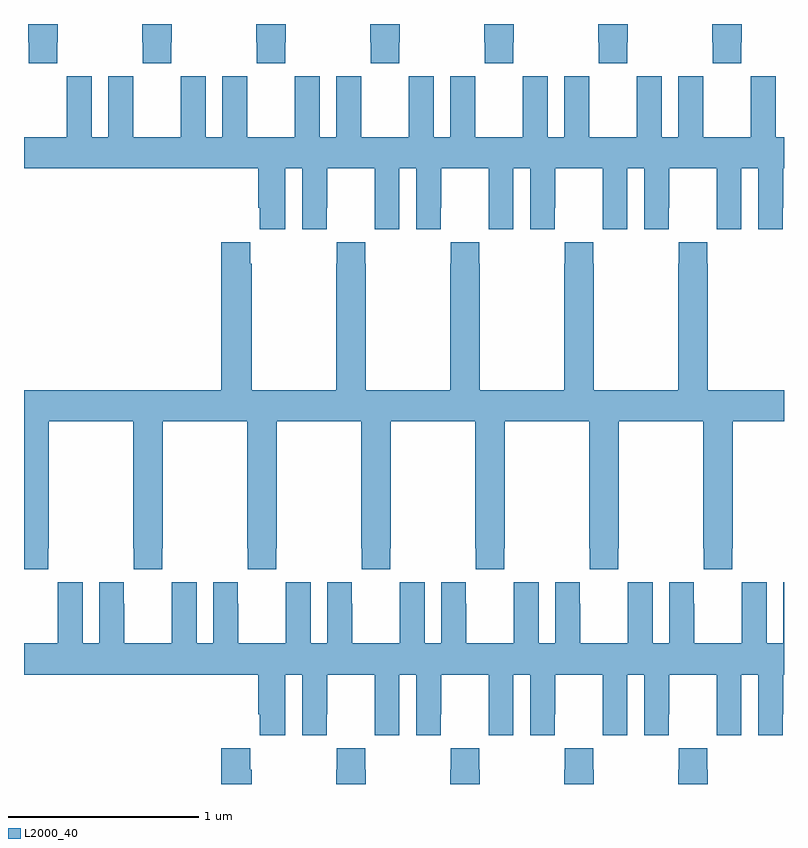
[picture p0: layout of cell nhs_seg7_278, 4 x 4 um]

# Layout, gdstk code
import gdstk
lib = gdstk.Library(unit=1e-6, precision=1e-09)
def P(c, l, *ps):  # polygons
    for p in ps: c.add(gdstk.Polygon(p, *l))
L2000_40 = (2000, 40)

nhs_seg7_278 = lib.new_cell('nhs_seg7_278')
P(nhs_seg7_278, L2000_40, [(133.575,1043.905),(133.578,1043.905),(133.578,1044),(133.423,1044),(133.423,1043.905),(133.425,1043.905),(133.425,1043.793),(133.575,1043.793)],
  [(132.975,1043.905),(132.978,1043.905),(132.978,1044),(132.823,1044),(132.823,1043.905),(132.825,1043.905),(132.825,1043.793),(132.975,1043.793)],
  [(132.375,1043.905),(132.378,1043.905),(132.378,1044),(132.223,1044),(132.223,1043.905),(132.225,1043.905),(132.225,1043.793),(132.375,1043.793)],
  [(131.775,1043.905),(131.778,1043.905),(131.778,1044),(131.623,1044),(131.623,1043.905),(131.625,1043.905),(131.625,1043.793),(131.775,1043.793)],
  [(131.175,1043.905),(131.178,1043.905),(131.178,1044),(131.023,1044),(131.023,1043.905),(131.025,1043.905),(131.025,1043.793),(131.175,1043.793)],
  [(134.175,1043.905),(134.178,1043.905),(134.178,1044),(134.023,1044),(134.023,1043.905),(134.025,1043.905),(134.025,1043.793),(134.175,1043.793)],
  [(134.775,1043.905),(134.778,1043.905),(134.778,1044),(134.623,1044),(134.623,1043.905),(134.625,1043.905),(134.625,1043.793),(134.775,1043.793)],
  [(133.975,1043.612),(133.974,1043.612),(133.974,1043.725),(133.844,1043.725),(133.844,1043.404),(133.756,1043.404),(133.756,1043.725),(133.626,1043.725),(133.626,1043.612),(133.625,1043.612),(133.625,1043.404),(133.375,1043.404),(133.375,1043.612),(133.374,1043.612),(133.374,1043.725),(133.244,1043.725),(133.244,1043.404),(133.156,1043.404),(133.156,1043.725),(133.026,1043.725),(133.026,1043.612),(133.025,1043.612),(133.025,1043.404),(132.775,1043.404),(132.775,1043.612),(132.774,1043.612),(132.774,1043.725),(132.644,1043.725),(132.644,1043.404),(132.556,1043.404),(132.556,1043.725),(132.426,1043.725),(132.426,1043.612),(132.425,1043.612),(132.425,1043.404),(132.175,1043.404),(132.175,1043.612),(132.174,1043.612),(132.174,1043.725),(132.044,1043.725),(132.044,1043.404),(131.956,1043.404),(131.956,1043.725),(131.826,1043.725),(131.826,1043.612),(131.825,1043.612),(131.825,1043.404),(131.575,1043.404),(131.575,1043.612),(131.574,1043.612),(131.574,1043.725),(131.444,1043.725),(131.444,1043.404),(131.356,1043.404),(131.356,1043.725),(131.226,1043.725),(131.226,1043.612),(131.225,1043.612),(131.225,1043.404),(131,1043.404),(131,1043.24),(132.233,1043.24),(132.233,1043.032),(132.242,1043.032),(132.242,1042.92),(132.376,1042.92),(132.376,1043.24),(132.464,1043.24),(132.464,1042.92),(132.594,1042.92),(132.594,1043.032),(132.595,1043.032),(132.595,1043.24),(132.845,1043.24),(132.845,1043.032),(132.846,1043.032),(132.846,1042.92),(132.976,1042.92),(132.976,1043.24),(133.064,1043.24),(133.064,1042.92),(133.194,1042.92),(133.194,1043.032),(133.195,1043.032),(133.195,1043.24),(133.445,1043.24),(133.445,1043.032),(133.446,1043.032),(133.446,1042.92),(133.576,1042.92),(133.576,1043.24),(133.664,1043.24),(133.664,1042.92),(133.794,1042.92),(133.794,1043.032),(133.795,1043.032),(133.795,1043.24),(134.045,1043.24),(134.045,1043.032),(134.046,1043.032),(134.046,1042.92),(134.176,1042.92),(134.176,1043.24),(134.264,1043.24),(134.264,1042.92),(134.394,1042.92),(134.394,1043.032),(134.395,1043.032),(134.395,1043.24),(134.645,1043.24),(134.645,1043.032),(134.646,1043.032),(134.646,1042.92),(134.776,1042.92),(134.776,1043.24),(134.864,1043.24),(134.864,1042.92),(134.994,1042.92),(134.994,1043.032),(134.995,1043.032),(134.995,1043.24),(135,1043.24),(135,1043.404),(134.956,1043.404),(134.956,1043.725),(134.826,1043.725),(134.826,1043.612),(134.825,1043.612),(134.825,1043.404),(134.575,1043.404),(134.575,1043.612),(134.574,1043.612),(134.574,1043.725),(134.444,1043.725),(134.444,1043.404),(134.356,1043.404),(134.356,1043.725),(134.226,1043.725),(134.226,1043.612),(134.225,1043.612),(134.225,1043.404),(133.975,1043.404)],
  [(133.975,1041.241),(133.977,1041.241),(133.977,1041.129),(134.127,1041.129),(134.127,1041.241),(134.13,1041.241),(134.13,1041.908),(134.575,1041.908),(134.575,1041.241),(134.577,1041.241),(134.577,1041.129),(134.727,1041.129),(134.727,1041.241),(134.73,1041.241),(134.73,1041.908),(135,1041.908),(135,1042.072),(134.598,1042.072),(134.598,1042.739),(134.595,1042.739),(134.595,1042.852),(134.445,1042.852),(134.445,1042.739),(134.443,1042.739),(134.443,1042.072),(133.998,1042.072),(133.998,1042.739),(133.995,1042.739),(133.995,1042.852),(133.845,1042.852),(133.845,1042.739),(133.843,1042.739),(133.843,1042.072),(133.398,1042.072),(133.398,1042.739),(133.395,1042.739),(133.395,1042.852),(133.245,1042.852),(133.245,1042.739),(133.243,1042.739),(133.243,1042.072),(132.798,1042.072),(132.798,1042.739),(132.795,1042.739),(132.795,1042.852),(132.645,1042.852),(132.645,1042.739),(132.643,1042.739),(132.643,1042.072),(132.198,1042.072),(132.198,1042.739),(132.191,1042.739),(132.191,1042.852),(132.038,1042.852),(132.038,1042.072),(131,1042.072),(131,1041.129),(131.127,1041.129),(131.127,1041.241),(131.13,1041.241),(131.13,1041.908),(131.575,1041.908),(131.575,1041.241),(131.577,1041.241),(131.577,1041.129),(131.727,1041.129),(131.727,1041.241),(131.73,1041.241),(131.73,1041.908),(132.175,1041.908),(132.175,1041.241),(132.177,1041.241),(132.177,1041.129),(132.327,1041.129),(132.327,1041.241),(132.33,1041.241),(132.33,1041.908),(132.775,1041.908),(132.775,1041.241),(132.777,1041.241),(132.777,1041.129),(132.927,1041.129),(132.927,1041.241),(132.93,1041.241),(132.93,1041.908),(133.375,1041.908),(133.375,1041.241),(133.377,1041.241),(133.377,1041.129),(133.527,1041.129),(133.527,1041.241),(133.53,1041.241),(133.53,1041.908),(133.975,1041.908)],
  [(133.445,1040.368),(133.446,1040.368),(133.446,1040.256),(133.576,1040.256),(133.576,1040.576),(133.664,1040.576),(133.664,1040.256),(133.794,1040.256),(133.794,1040.368),(133.795,1040.368),(133.795,1040.576),(134.045,1040.576),(134.045,1040.368),(134.046,1040.368),(134.046,1040.256),(134.176,1040.256),(134.176,1040.576),(134.264,1040.576),(134.264,1040.256),(134.394,1040.256),(134.394,1040.368),(134.395,1040.368),(134.395,1040.576),(134.645,1040.576),(134.645,1040.368),(134.646,1040.368),(134.646,1040.256),(134.776,1040.256),(134.776,1040.576),(134.864,1040.576),(134.864,1040.256),(134.994,1040.256),(134.994,1040.368),(134.995,1040.368),(134.995,1040.576),(135,1040.576),(135,1041.061),(134.996,1041.061),(134.996,1040.74),(134.908,1040.74),(134.908,1041.061),(134.778,1041.061),(134.778,1040.948),(134.777,1040.948),(134.777,1040.74),(134.527,1040.74),(134.527,1040.948),(134.526,1040.948),(134.526,1041.061),(134.396,1041.061),(134.396,1040.74),(134.308,1040.74),(134.308,1041.061),(134.178,1041.061),(134.178,1040.948),(134.177,1040.948),(134.177,1040.74),(133.927,1040.74),(133.927,1040.948),(133.926,1040.948),(133.926,1041.061),(133.796,1041.061),(133.796,1040.74),(133.708,1040.74),(133.708,1041.061),(133.578,1041.061),(133.578,1040.948),(133.577,1040.948),(133.577,1040.74),(133.327,1040.74),(133.327,1040.948),(133.326,1040.948),(133.326,1041.061),(133.196,1041.061),(133.196,1040.74),(133.108,1040.74),(133.108,1041.061),(132.978,1041.061),(132.978,1040.948),(132.977,1040.948),(132.977,1040.74),(132.727,1040.74),(132.727,1040.948),(132.726,1040.948),(132.726,1041.061),(132.596,1041.061),(132.596,1040.74),(132.508,1040.74),(132.508,1041.061),(132.378,1041.061),(132.378,1040.948),(132.377,1040.948),(132.377,1040.74),(132.127,1040.74),(132.127,1040.948),(132.126,1040.948),(132.126,1041.061),(131.996,1041.061),(131.996,1040.74),(131.908,1040.74),(131.908,1041.061),(131.778,1041.061),(131.778,1040.948),(131.777,1040.948),(131.777,1040.74),(131.527,1040.74),(131.527,1040.948),(131.526,1040.948),(131.526,1041.061),(131.396,1041.061),(131.396,1040.74),(131.308,1040.74),(131.308,1041.061),(131.178,1041.061),(131.178,1040.948),(131.177,1040.948),(131.177,1040.74),(131,1040.74),(131,1040.576),(132.233,1040.576),(132.233,1040.368),(132.242,1040.368),(132.242,1040.256),(132.376,1040.256),(132.376,1040.576),(132.464,1040.576),(132.464,1040.256),(132.594,1040.256),(132.594,1040.368),(132.595,1040.368),(132.595,1040.576),(132.845,1040.576),(132.845,1040.368),(132.846,1040.368),(132.846,1040.256),(132.976,1040.256),(132.976,1040.576),(133.064,1040.576),(133.064,1040.256),(133.194,1040.256),(133.194,1040.368),(133.195,1040.368),(133.195,1040.576),(133.445,1040.576)],
  [(134.598,1040.075),(134.595,1040.075),(134.595,1040.188),(134.445,1040.188),(134.445,1040.075),(134.443,1040.075),(134.443,1040),(134.598,1040)],
  [(133.998,1040.075),(133.995,1040.075),(133.995,1040.188),(133.845,1040.188),(133.845,1040.075),(133.843,1040.075),(133.843,1040),(133.998,1040)],
  [(132.798,1040.075),(132.795,1040.075),(132.795,1040.188),(132.645,1040.188),(132.645,1040.075),(132.643,1040.075),(132.643,1040),(132.798,1040)],
  [(132.198,1040.075),(132.191,1040.075),(132.191,1040.188),(132.038,1040.188),(132.038,1040),(132.198,1040)],
  [(133.398,1040.075),(133.395,1040.075),(133.395,1040.188),(133.245,1040.188),(133.245,1040.075),(133.243,1040.075),(133.243,1040),(133.398,1040)])

lib.write_gds('nhs_seg7_278.gds')
